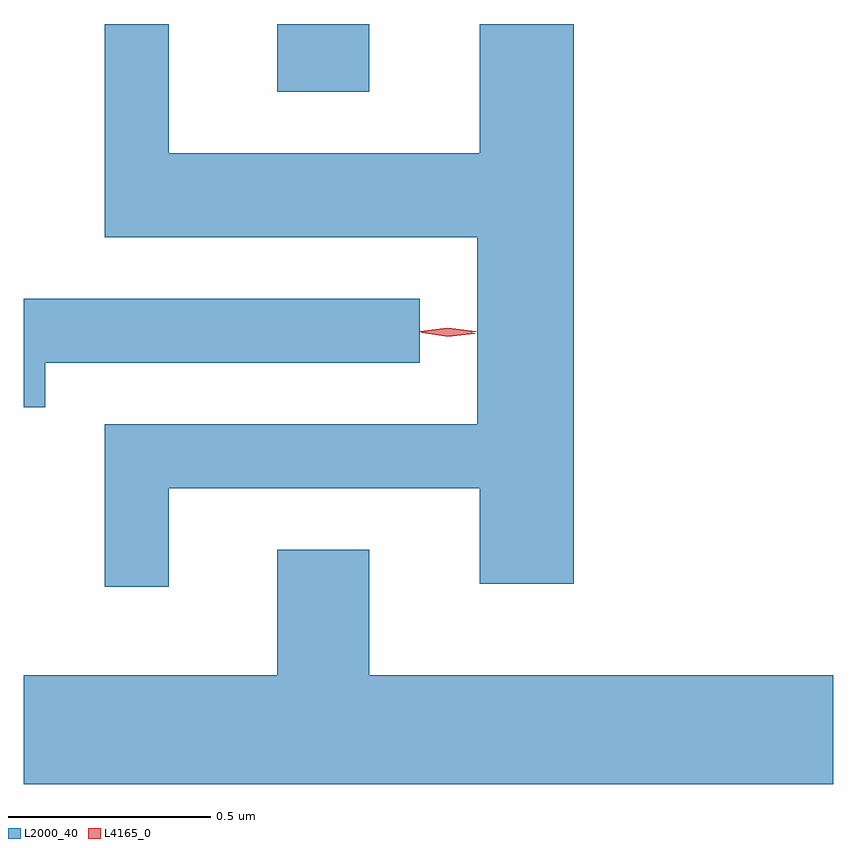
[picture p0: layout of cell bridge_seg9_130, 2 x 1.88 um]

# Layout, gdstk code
import gdstk
lib = gdstk.Library(unit=1e-6, precision=1e-09)
def R(c, l, rs):  # rectangles x0, y0, x1, y1
    for r in rs: c.add(gdstk.rectangle(r[:2], r[2:], *l))
def P(c, l, *ps):  # polygons
    for p in ps: c.add(gdstk.Polygon(p, *l))
L2000_40 = (2000, 40)
L4165_0 = (4165, 0)

bridge_seg9_130 = lib.new_cell('bridge_seg9_130')
R(bridge_seg9_130, L2000_40, [(1287.021,2015.726,1287.249,2015.893)])
P(bridge_seg9_130, L2000_40, [(1286.754,2014.746),(1287.521,2014.746),(1287.521,2014.511),(1287.754,2014.511),(1287.754,2015.893),(1287.521,2015.893),(1287.521,2015.574),(1286.754,2015.574),(1286.754,2015.893),(1286.596,2015.893),(1286.596,2015.366),(1287.516,2015.366),(1287.516,2014.904),(1286.596,2014.904),(1286.596,2014.503),(1286.754,2014.503)],
  [(1286.449,2015.056),(1287.373,2015.056),(1287.373,2015.214),(1286.395,2015.214),(1286.395,2014.946),(1286.449,2014.946)],
  [(1288.395,2014.284),(1287.249,2014.284),(1287.249,2014.594),(1287.021,2014.594),(1287.021,2014.284),(1286.395,2014.284),(1286.395,2014.016),(1288.395,2014.016)])
P(bridge_seg9_130, L4165_0, [(1287.443,2015.123),(1287.374,2015.133),(1287.373,2015.133),(1287.374,2015.134),(1287.443,2015.143),(1287.512,2015.134),(1287.513,2015.133),(1287.512,2015.133)],
  [(1287.443,2015.12),(1287.378,2015.131),(1287.377,2015.131),(1287.378,2015.132),(1287.444,2015.14),(1287.509,2015.129),(1287.51,2015.128),(1287.509,2015.128)])

lib.write_gds('bridge_seg9_130.gds')
